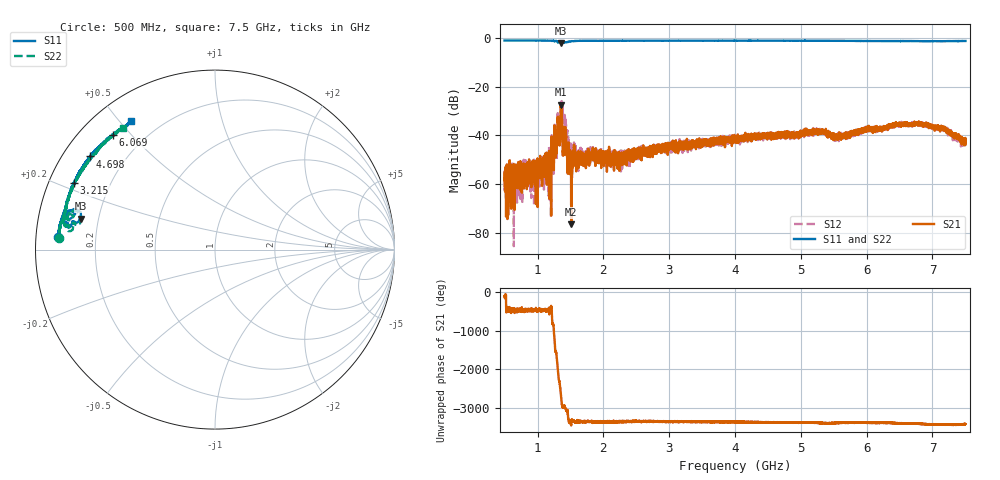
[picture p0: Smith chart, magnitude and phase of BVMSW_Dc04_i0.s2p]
!Keysight Technologies,M9374A,MY55442783,A.12.55.05
!Date: Thursday, May 20, 2021 17:48:18
!Correction: S11(Full 2 Port(1,2))
!S21(Full 2 Port(1,2))
!S12(Full 2 Port(1,2))
!S22(Full 2 Port(1,2))
!S2P File: Measurements: S11, S21, S12, S22:
# Hz S  RI  R 50
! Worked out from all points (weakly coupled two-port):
!   7001 points, 500 MHz to 7.5 GHz, reference 50 ohm
!   highest |S21| = -27.41 dB at 1.357 GHz (marker M1); lowest = -76.3 dB at 1.513 GHz (marker M2)
!   lowest |S11| = -2.3 dB at 1.358 GHz (marker M3), VSWR 7.57, Z = 6.69 + j5.61 ohm
!   |S11| at or under -10 dB: nowhere
!   |S22| runs from -2.4 to -1.1 dB; largest |S21 - S12| = 0.031
!   S11 on the Smith chart (normalised r, x): 500 MHz: 0.07, +0.04; 3.215 GHz: 0.07, +0.22; 4.698 GHz: 0.08, +0.33; 6.069 GHz: 0.09, +0.44; 7.5 GHz: 0.10, +0.54
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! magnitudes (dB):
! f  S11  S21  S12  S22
! 500 MHz  -1.1  -58.4  -58.2  -1.2
! 1.174 GHz  -1.2  -46.7  -44.6  -1.3
! 1.31 GHz  -1.8  -33.7  -31.8  -1.9
! 1.333 GHz  -1.4  -41.5  -39.8  -1.5
! 1.357 GHz  -2.3  -27.4  -26.0  -2.3
! 1.358 GHz  -2.3  -27.9  -26.2  -2.3
! 1.391 GHz  -1.9  -46.6  -32.9  -1.9
! 1.485 GHz  -1.5  -55.3  -48.2  -1.6
! 1.513 GHz  -1.4  -76.3  -55.8  -1.5
! 1.567 GHz  -1.3  -45.8  -45.0  -1.4
! 1.667 GHz  -1.3  -49.0  -47.7  -1.3
! 2.213 GHz  -1.3  -48.7  -48.8  -1.3
! 2.834 GHz  -1.2  -44.0  -45.0  -1.2
! 3.215 GHz  -1.2  -45.9  -44.0  -1.3
! 4 GHz  -1.2  -41.4  -42.4  -1.3
! 4.698 GHz  -1.2  -40.1  -39.6  -1.3
! 5.167 GHz  -1.3  -38.7  -38.6  -1.3
! 5.547 GHz  -1.3  -40.5  -40.8  -1.4
! 6.069 GHz  -1.4  -37.3  -37.4  -1.4
! 6.334 GHz  -1.4  -35.4  -36.2  -1.3
! 7.129 GHz  -1.4  -36.1  -36.7  -1.4
! 7.5 GHz  -1.3  -42.5  -43.7  -1.4
